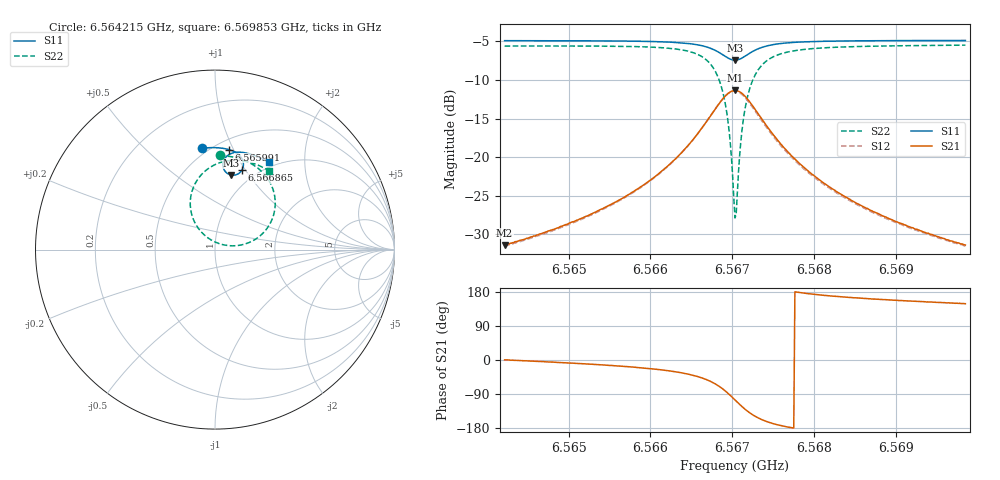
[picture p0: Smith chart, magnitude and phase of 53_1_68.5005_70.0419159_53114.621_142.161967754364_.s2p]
#  HZ  S  RI  R  50.00
! Rohde & Schwarz Vector Network Analyzer
! Rohde-Schwarz,ZNB20-2Port,1311601062101988,3.16
! Created: UTC 3/20/2024, 5:06:04 PM
! freq[Hz]  re:S11  im:S11  re:S21  im:S21  re:S12  im:S12  re:S22  im:S22
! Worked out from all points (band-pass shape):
!   401 points, 6.564215 GHz to 6.569853 GHz, reference 50 ohm
!   highest |S21| = -11.35 dB at 6.567034 GHz (marker M1); lowest = -31.4 dB at 6.564215 GHz (marker M2)
!   |S21| within 3 dB of the highest: 6.566754 GHz to 6.567317 GHz (563.1 kHz wide, 0.00857 % of centre)
!   lowest |S11| = -7.4 dB at 6.567034 GHz (marker M3), VSWR 2.48, Z = 40.9 + j41.5 ohm
!   |S11| at or under -10 dB: nowhere
!   |S22| runs from -27.9 to -5.5 dB; largest |S21 - S12| = 0.012
!   S11 on the Smith chart (normalised r, x): 6.564215 GHz: 0.46, +0.77; 6.565991 GHz: 0.59, +0.96; 6.566865 GHz: 0.85, +0.97; 6.569853 GHz: 0.93, +1.34
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6.5642151e9  -0.0737 0.5643  0.027 0.000162  0.0266 -0.000316  0.0254 0.5246
6.5651595e9  0.00307 0.5679  0.0396 -0.00684  0.0391 -0.00727  0.1131 0.5129
6.5659911e9  0.0792 0.5566  0.0652 -0.0273  0.0641 -0.0279  0.2164 0.4699
6.5661039e9  0.0907 0.5529  0.071 -0.0335  0.0698 -0.0344  0.2347 0.4571
6.566414e9  0.1256 0.5343  0.0913 -0.0646  0.0899 -0.0657  0.2931 0.3958
6.5666254e9  0.1498 0.5068  0.1047 -0.1123  0.1024 -0.1144  0.3315 0.3038
6.5667664e9  0.1586 0.4739  0.0981 -0.1696  0.0941 -0.1725  0.3269 0.1946
6.566865e9  0.1504 0.4436  0.067 -0.2218  0.0599 -0.2245  0.2721 0.0965
6.5669073e9  0.1406 0.4308  0.0417 -0.2428  0.0331 -0.2446  0.2261 0.0583
6.5669496e9  0.1263 0.4205  0.00877 -0.2588  -0.00143 -0.2588  0.1659 0.0307
6.5669778e9  0.1147 0.4161  -0.0168 -0.2647  -0.0278 -0.263  0.1195 0.0218
6.5670201e9  0.0956 0.4146  -0.0581 -0.264  -0.069 -0.2595  0.0465 0.0267
6.5670342e9  0.0892 0.4156  -0.0717 -0.261  -0.0825 -0.2555  0.0227 0.0334
6.5670624e9  0.0768 0.4197  -0.0976 -0.2511  -0.1077 -0.2437  -0.022 0.054
6.5671047e9  0.0611 0.4307  -0.131 -0.2278  -0.1389 -0.2183  -0.0769 0.0988
6.5671469e9  0.0503 0.4451  -0.1551 -0.1982  -0.1603 -0.1877  -0.1139 0.1536
6.5672033e9  0.0441 0.4661  -0.1719 -0.1567  -0.1737 -0.1462  -0.1361 0.2282
6.5672738e9  0.0463 0.4897  -0.1744 -0.1107  -0.1738 -0.1018  -0.1323 0.3084
6.5675275e9  0.0846 0.5328  -0.1322 -0.0245  -0.1294 -0.0206  -0.0361 0.4524
6.5679786e9  0.1454 0.5423  -0.077 0.00825  -0.0752 0.00952  0.0915 0.4969
6.568923e9  0.2315 0.5201  -0.0371 0.0147  -0.0364 0.0149  0.2211 0.4776
6.5698533e9  0.2993 0.4861  -0.023 0.0141  -0.0225 0.0141  0.3002 0.4397
